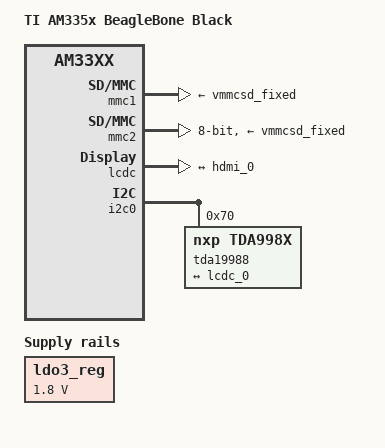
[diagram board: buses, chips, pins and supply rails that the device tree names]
/*
 * Copyright (C) 2015 Jumpnow Technologies, LLC - http://jumpnowtek.com
 *
 * This program is free software; you can redistribute it and/or modify
 * it under the terms of the GNU General Public License version 2 as
 * published by the Free Software Foundation.
 */

/dts-v1/;

#include "am33xx.dtsi"
#include "am335x-bone-common.dtsi"
#include "bbb-spi1-spidev.dtsi"
#include "bbb-i2c1.dtsi"
#include "bbb-i2c2.dtsi"
#include "bbb-uart4.dtsi"
#include "bbb-adc.dtsi"

/ {
	model = "TI AM335x BeagleBone Black";
	compatible = "ti,am335x-bone-black", "ti,am33xx";
};

&ldo3_reg {
	regulator-min-microvolt = <1800000>;
	regulator-max-microvolt = <1800000>;
	regulator-always-on;
};

&mmc1 {
	vmmc-supply = <&vmmcsd_fixed>;
};

&mmc2 {
	vmmc-supply = <&vmmcsd_fixed>;
	pinctrl-names = "default";
	pinctrl-0 = <&emmc_pins>;
	bus-width = <8>;
	status = "okay";
};

&am33xx_pinmux {
	hdmi_pins: hdmi_pins {
		pinctrl-single,pins = <
			0x1b0 (PIN_OUTPUT_PULLDOWN | MUX_MODE3)  /* xdma_event_intr0 */
			0xa0 (PIN_OUTPUT | MUX_MODE0)            /* lcd_data0 */
			0xa4 (PIN_OUTPUT | MUX_MODE0)            /* lcd_data1 */
			0xa8 (PIN_OUTPUT | MUX_MODE0)            /* lcd_data2 */
			0xac (PIN_OUTPUT | MUX_MODE0)            /* lcd_data3 */
			0xb0 (PIN_OUTPUT | MUX_MODE0)            /* lcd_data4 */
			0xb4 (PIN_OUTPUT | MUX_MODE0)            /* lcd_data5 */
			0xb8 (PIN_OUTPUT | MUX_MODE0)            /* lcd_data6 */
			0xbc (PIN_OUTPUT | MUX_MODE0)            /* lcd_data7 */
			0xc0 (PIN_OUTPUT | MUX_MODE0)            /* lcd_data8 */
			0xc4 (PIN_OUTPUT | MUX_MODE0)            /* lcd_data9 */
			0xc8 (PIN_OUTPUT | MUX_MODE0)            /* lcd_data10 */
			0xcc (PIN_OUTPUT | MUX_MODE0)            /* lcd_data11 */
			0xd0 (PIN_OUTPUT | MUX_MODE0)            /* lcd_data12 */
			0xd4 (PIN_OUTPUT | MUX_MODE0)            /* lcd_data13 */
			0xd8 (PIN_OUTPUT | MUX_MODE0)            /* lcd_data14 */
			0xdc (PIN_OUTPUT | MUX_MODE0)            /* lcd_data15 */
			0xe0 (PIN_OUTPUT_PULLDOWN | MUX_MODE0)   /* lcd_vsync */
			0xe4 (PIN_OUTPUT_PULLDOWN | MUX_MODE0)   /* lcd_hsync */
			0xe8 (PIN_OUTPUT_PULLDOWN | MUX_MODE0)   /* lcd_pclk */
			0xec (PIN_OUTPUT_PULLDOWN | MUX_MODE0)   /* lcd_ac_bias_en */
		>;
	};

	hdmi_off_pins: hdmi_off_pins {
		pinctrl-single,pins = <
			0x1b0 (PIN_OUTPUT_PULLDOWN | MUX_MODE3)  /* xdma_event_intr0 */
		>;
	};
};

&lcdc {
	status = "okay";
	port {
		lcdc_0: endpoint@0 {
			remote-endpoint = <&hdmi_0>;
		};
	};
};

&i2c0 {
	tda19988 {
		compatible = "nxp,tda998x";
		reg = <0x70>;
		pinctrl-names = "default", "off";
		pinctrl-0 = <&hdmi_pins>;
		pinctrl-1 = <&hdmi_off_pins>;

		port {
			hdmi_0: endpoint@0 {
				remote-endpoint = <&lcdc_0>;
			};
		};
	};
};

&rtc {
	system-power-controller;
};
